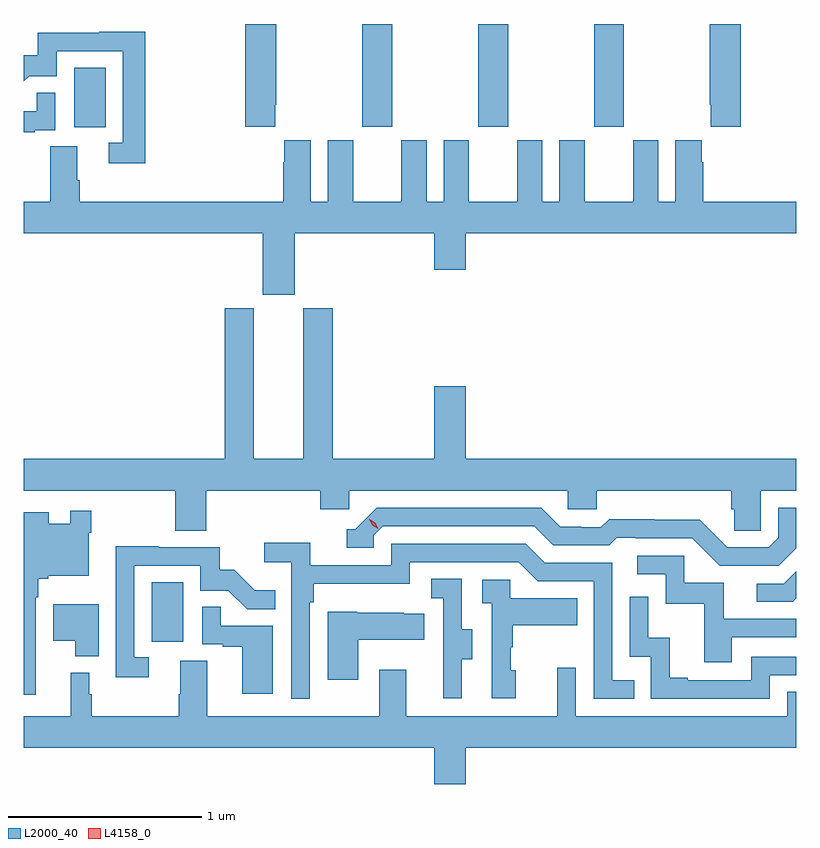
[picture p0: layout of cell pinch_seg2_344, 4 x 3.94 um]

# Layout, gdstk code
import gdstk
lib = gdstk.Library(unit=1e-6, precision=1e-09)
def R(c, l, rs):  # rectangles x0, y0, x1, y1
    for r in rs: c.add(gdstk.rectangle(r[:2], r[2:], *l))
def A(c, l, x, y, w, h, nx, ny, dx, dy):  # array of equal rectangles
    R(c, l, [(x+i*dx, y+j*dy, x+i*dx+w, y+j*dy+h) for i in range(nx) for j in range(ny)])
def P(c, l, *ps):  # polygons
    for p in ps: c.add(gdstk.Polygon(p, *l))
L2000_40 = (2000, 40)
L4158_0 = (4158, 0)

pinch_seg2_344 = lib.new_cell('pinch_seg2_344')
A(pinch_seg2_344, L2000_40, 955.843, 646.857, 0.155, 0.531, 3, 1, 0.6, 0)
R(pinch_seg2_344, L2000_40, [(954.752,644.19,954.916,644.497), (954.35,646.854,954.514,647.161)])
P(pinch_seg2_344, L2000_40, [(957.803,647.388),(957.643,647.388),(957.643,646.969),(957.647,646.969),(957.647,646.857),(957.803,646.857)],
  [(955.393,646.969),(955.398,646.969),(955.398,647.388),(955.238,647.388),(955.238,646.857),(955.393,646.857)],
  [(954.719,647.348),(954.481,647.348),(954.481,647.343),(954.163,647.343),(954.163,647.226),(954.09,647.226),(954.09,647.091),(954.117,647.118),(954.261,647.118),(954.261,647.247),(954.603,647.247),(954.603,646.773),(954.531,646.773),(954.531,646.668),(954.719,646.668)],
  [(954.146,646.839),(954.252,646.839),(954.252,647.033),(954.157,647.033),(954.157,646.935),(954.09,646.935),(954.09,646.827),(954.146,646.827)],
  [(955.492,646.304),(956.216,646.304),(956.216,646.116),(956.38,646.116),(956.38,646.304),(958.09,646.304),(958.09,646.468),(957.608,646.468),(957.608,646.673),(957.601,646.673),(957.601,646.786),(957.464,646.786),(957.464,646.468),(957.376,646.468),(957.376,646.786),(957.245,646.786),(957.245,646.468),(956.995,646.468),(956.995,646.786),(956.864,646.786),(956.864,646.468),(956.776,646.468),(956.776,646.786),(956.645,646.786),(956.645,646.468),(956.395,646.468),(956.395,646.786),(956.264,646.786),(956.264,646.468),(956.176,646.468),(956.176,646.786),(956.045,646.786),(956.045,646.468),(955.795,646.468),(955.795,646.786),(955.664,646.786),(955.664,646.468),(955.576,646.468),(955.576,646.786),(955.439,646.786),(955.439,646.673),(955.433,646.673),(955.433,646.468),(954.38,646.468),(954.38,646.58),(954.367,646.58),(954.367,646.754),(954.227,646.754),(954.227,646.468),(954.09,646.468),(954.09,646.304),(955.328,646.304),(955.328,645.987),(955.492,645.987)],
  [(955.034,644.972),(955.625,644.972),(955.625,644.874),(955.776,644.874),(955.776,644.972),(956.907,644.972),(956.907,644.874),(957.057,644.874),(957.057,644.972),(957.755,644.972),(957.755,644.874),(957.769,644.874),(957.769,644.764),(957.906,644.764),(957.906,644.972),(958.09,644.972),(958.09,645.136),(956.38,645.136),(956.38,645.511),(956.216,645.511),(956.216,645.136),(955.691,645.136),(955.691,645.915),(955.538,645.915),(955.538,645.136),(955.282,645.136),(955.282,645.915),(955.13,645.915),(955.13,645.136),(954.09,645.136),(954.09,644.972),(954.874,644.972),(954.874,644.764),(955.034,644.764)],
  [(958.09,644.674),(958.09,644.883),(957.996,644.883),(957.996,644.727),(957.948,644.679),(957.732,644.679),(957.59,644.821),(957.354,644.821),(957.354,644.824),(957.121,644.824),(957.079,644.781),(956.976,644.781),(956.976,644.784),(956.869,644.784),(956.77,644.883),(955.917,644.883),(955.806,644.772),(955.763,644.772),(955.763,644.676),(955.902,644.676),(955.902,644.739),(955.95,644.787),(956.733,644.787),(956.832,644.688),(957.121,644.688),(957.16,644.727),(957.259,644.727),(957.259,644.724),(957.552,644.724),(957.693,644.583),(957.999,644.583)],
  [(954.153,644.42),(954.166,644.42),(954.166,644.516),(954.216,644.516),(954.216,644.531),(954.426,644.531),(954.426,644.753),(954.439,644.753),(954.439,644.866),(954.33,644.866),(954.33,644.8),(954.22,644.8),(954.22,644.86),(954.09,644.86),(954.09,643.914),(954.153,643.914)],
  [(955.572,644.393),(955.592,644.393),(955.592,644.489),(956.088,644.489),(956.088,644.601),(956.652,644.601),(956.751,644.502),(957.042,644.502),(957.042,643.893),(957.251,643.893),(957.251,643.989),(957.138,643.989),(957.138,644.598),(956.788,644.598),(956.689,644.697),(955.992,644.697),(955.992,644.586),(955.574,644.586),(955.574,644.702),(955.335,644.702),(955.335,644.6),(955.476,644.6),(955.476,643.893),(955.572,643.893)],
  [(954.736,644.109),(954.663,644.109),(954.663,644.583),(955.005,644.583),(955.005,644.454),(955.149,644.454),(955.247,644.356),(955.391,644.356),(955.391,644.455),(955.287,644.455),(955.18,644.562),(955.104,644.562),(955.104,644.679),(954.785,644.679),(954.785,644.684),(954.567,644.684),(954.567,644.004),(954.736,644.004)],
  [(957.757,644.211),(958.09,644.211),(958.09,644.307),(957.715,644.307),(957.715,644.493),(957.51,644.493),(957.51,644.634),(957.267,644.634),(957.267,644.538),(957.414,644.538),(957.414,644.385),(957.613,644.385),(957.613,644.082),(957.757,644.082)],
  [(958.09,644.415),(958.09,644.554),(958.026,644.49),(957.885,644.49),(957.885,644.397),(958.072,644.397)],
  [(956.359,644.098),(956.413,644.098),(956.413,644.253),(956.358,644.253),(956.358,644.516),(956.199,644.516),(956.199,644.413),(956.262,644.413),(956.262,644.109),(956.261,644.109),(956.261,643.896),(956.359,643.896)],
  [(956.638,644.04),(956.613,644.04),(956.613,644.159),(956.623,644.159),(956.623,644.273),(956.957,644.273),(956.957,644.413),(956.61,644.413),(956.61,644.511),(956.463,644.511),(956.463,644.387),(956.514,644.387),(956.514,643.896),(956.638,643.896)],
  [(957.954,644.016),(958.09,644.016),(958.09,644.112),(957.858,644.112),(957.858,643.989),(957.529,643.989),(957.529,644.002),(957.434,644.002),(957.434,644.21),(957.324,644.21),(957.324,644.422),(957.228,644.422),(957.228,644.112),(957.336,644.112),(957.336,643.893),(957.954,643.893)],
  [(954.478,644.383),(954.242,644.383),(954.242,644.195),(954.356,644.195),(954.356,644.114),(954.478,644.114)],
  [(955.378,644.271),(955.109,644.271),(955.109,644.369),(955.014,644.369),(955.014,644.175),(955.121,644.175),(955.121,644.163),(955.22,644.163),(955.22,643.92),(955.378,643.92)],
  [(955.822,644.198),(956.165,644.198),(956.165,644.335),(956.057,644.335),(956.057,644.338),(955.818,644.338),(955.818,644.344),(955.664,644.344),(955.664,643.992),(955.822,643.992)],
  [(956.38,643.64),(958.09,643.64),(958.09,643.931),(958.044,643.931),(958.044,643.804),(956.949,643.804),(956.949,644.053),(956.852,644.053),(956.852,643.804),(956.071,643.804),(956.071,644.044),(955.931,644.044),(955.931,643.804),(955.039,643.804),(955.039,644.09),(954.899,644.09),(954.899,643.916),(954.892,643.916),(954.892,643.804),(954.442,643.804),(954.442,643.916),(954.43,643.916),(954.43,644.029),(954.332,644.029),(954.332,643.804),(954.09,643.804),(954.09,643.64),(956.216,643.64),(956.216,643.452),(956.38,643.452)])
P(pinch_seg2_344, L4158_0, [(955.926,644.773),(955.895,644.793),(955.88,644.826),(955.88,644.826),(955.88,644.826),(955.91,644.806),(955.926,644.773),(955.926,644.773)])

lib.write_gds('pinch_seg2_344.gds')
